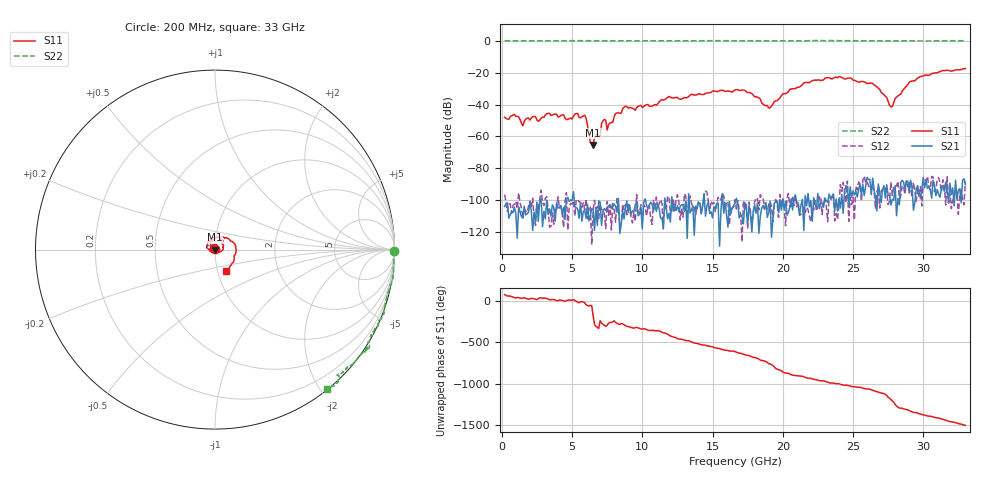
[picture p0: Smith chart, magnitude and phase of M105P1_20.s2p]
# GHZ S RI R 50
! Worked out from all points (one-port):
!   329 points, 200 MHz to 33 GHz, reference 50 ohm
!   lowest |S11| = -65.3 dB at 6.5 GHz (marker M1), VSWR 1.00, Z = 49.9 - j0.00319 ohm
!   |S11| at or under -10 dB: start of sweep to end of sweep
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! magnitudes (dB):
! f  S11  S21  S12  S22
! 200 MHz  -48.0  -103.9  -96.5  0.0
! 900 MHz  -46.3  -104.3  -102.4  0.0
! 1.5 GHz  -53.5  -111.0  -111.6  0.0
! 3.3 GHz  -45.6  -108.9  -106.0  0.0
! 5.7 GHz  -47.6  -113.2  -104.4  0.0
! 6 GHz  -48.5  -111.4  -99.4  0.0
! 6.3 GHz  -63.8  -109.8  -104.3  0.0
! 6.5 GHz  -65.3  -105.9  -106.1  0.0
! 6.8 GHz  -58.2  -115.9  -104.1  0.0
! 7 GHz  -60.5  -101.2  -102.6  0.0
! 7.1 GHz  -51.9  -115.9  -106.0  0.0
! 7.3 GHz  -49.4  -105.3  -108.7  0.0
! 7.5 GHz  -56.0  -104.5  -100.8  0.0
! 8.8 GHz  -41.2  -104.6  -102.7  0.0
! 11.2 GHz  -38.4  -105.3  -102.0  -0.1
! 16.6 GHz  -30.8  -101.8  -99.7  0.0
! 19.1 GHz  -42.1  -100.6  -100.8  -0.1
! 22.1 GHz  -25.1  -113.2  -106.3  0.0
! 26.4 GHz  -26.8  -86.1  -92.2  0.0
! 27.6 GHz  -40.5  -97.2  -100.7  -0.1
! 29.8 GHz  -22.5  -98.8  -91.5  -0.2
! 33 GHz  -17.5  -90.3  -88.2  0.0
